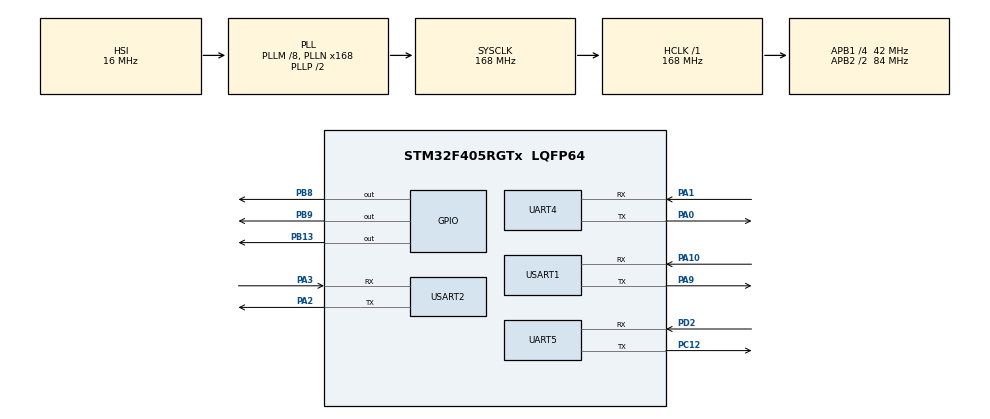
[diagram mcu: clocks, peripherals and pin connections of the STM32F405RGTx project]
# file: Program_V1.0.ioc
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Dma.Request0=USART2_TX
Dma.Request1=UART5_TX
Dma.Request2=USART1_RX
Dma.Request3=UART4_RX
Dma.Request4=UART5_RX
Dma.Request5=USART2_RX
Dma.UART4_RX.3.Direction=DMA_PERIPH_TO_MEMORY
Dma.UART4_RX.3.FIFOMode=DMA_FIFOMODE_DISABLE
Dma.UART4_RX.3.Instance=DMA1_Stream2
Dma.UART4_RX.3.MemDataAlignment=DMA_MDATAALIGN_BYTE
Dma.UART4_RX.3.MemInc=DMA_MINC_ENABLE
Dma.UART4_RX.3.Mode=DMA_NORMAL
Dma.UART4_RX.3.PeriphDataAlignment=DMA_PDATAALIGN_BYTE
Dma.UART4_RX.3.PeriphInc=DMA_PINC_DISABLE
Dma.UART4_RX.3.Priority=DMA_PRIORITY_LOW
Dma.UART5_RX.4.Direction=DMA_PERIPH_TO_MEMORY
Dma.UART5_RX.4.FIFOMode=DMA_FIFOMODE_DISABLE
Dma.UART5_RX.4.Instance=DMA1_Stream0
Dma.UART5_RX.4.MemDataAlignment=DMA_MDATAALIGN_BYTE
Dma.UART5_RX.4.MemInc=DMA_MINC_ENABLE
Dma.UART5_RX.4.Mode=DMA_NORMAL
Dma.UART5_RX.4.PeriphDataAlignment=DMA_PDATAALIGN_BYTE
Dma.UART5_RX.4.PeriphInc=DMA_PINC_DISABLE
Dma.UART5_RX.4.Priority=DMA_PRIORITY_LOW
Dma.UART5_TX.1.Direction=DMA_MEMORY_TO_PERIPH
Dma.UART5_TX.1.FIFOMode=DMA_FIFOMODE_DISABLE
Dma.UART5_TX.1.Instance=DMA1_Stream7
Dma.UART5_TX.1.MemDataAlignment=DMA_MDATAALIGN_BYTE
Dma.UART5_TX.1.MemInc=DMA_MINC_ENABLE
Dma.UART5_TX.1.Mode=DMA_NORMAL
Dma.UART5_TX.1.PeriphDataAlignment=DMA_PDATAALIGN_BYTE
Dma.UART5_TX.1.PeriphInc=DMA_PINC_DISABLE
Dma.UART5_TX.1.Priority=DMA_PRIORITY_LOW
Dma.USART1_RX.2.Direction=DMA_PERIPH_TO_MEMORY
Dma.USART1_RX.2.FIFOMode=DMA_FIFOMODE_DISABLE
Dma.USART1_RX.2.Instance=DMA2_Stream2
Dma.USART1_RX.2.MemDataAlignment=DMA_MDATAALIGN_BYTE
Dma.USART1_RX.2.MemInc=DMA_MINC_ENABLE
Dma.USART1_RX.2.Mode=DMA_NORMAL
Dma.USART1_RX.2.PeriphDataAlignment=DMA_PDATAALIGN_BYTE
Dma.USART1_RX.2.PeriphInc=DMA_PINC_DISABLE
Dma.USART1_RX.2.Priority=DMA_PRIORITY_LOW
Dma.USART2_RX.5.Direction=DMA_PERIPH_TO_MEMORY
Dma.USART2_RX.5.FIFOMode=DMA_FIFOMODE_DISABLE
Dma.USART2_RX.5.Instance=DMA1_Stream5
Dma.USART2_RX.5.MemDataAlignment=DMA_MDATAALIGN_BYTE
Dma.USART2_RX.5.MemInc=DMA_MINC_ENABLE
Dma.USART2_RX.5.Mode=DMA_NORMAL
Dma.USART2_RX.5.PeriphDataAlignment=DMA_PDATAALIGN_BYTE
Dma.USART2_RX.5.PeriphInc=DMA_PINC_DISABLE
Dma.USART2_RX.5.Priority=DMA_PRIORITY_LOW
Dma.USART2_TX.0.Direction=DMA_MEMORY_TO_PERIPH
Dma.USART2_TX.0.FIFOMode=DMA_FIFOMODE_DISABLE
Dma.USART2_TX.0.Instance=DMA1_Stream6
Dma.USART2_TX.0.MemDataAlignment=DMA_MDATAALIGN_BYTE
Dma.USART2_TX.0.MemInc=DMA_MINC_ENABLE
Dma.USART2_TX.0.Mode=DMA_NORMAL
Dma.USART2_TX.0.PeriphDataAlignment=DMA_PDATAALIGN_BYTE
Dma.USART2_TX.0.PeriphInc=DMA_PINC_DISABLE
Dma.USART2_TX.0.Priority=DMA_PRIORITY_LOW
Mcu.Family=STM32F4
Mcu.Name=STM32F405RGTx
Mcu.Package=LQFP64
NVIC.DMA1_Stream0_IRQn=true\:0\:0\:false\:false\:true\:false\:true\:true
NVIC.DMA1_Stream2_IRQn=true\:0\:0\:false\:false\:true\:false\:true\:true
NVIC.DMA1_Stream5_IRQn=true\:0\:0\:false\:false\:true\:false\:true\:true
NVIC.DMA1_Stream6_IRQn=true\:0\:0\:false\:false\:true\:false\:true\:true
NVIC.DMA1_Stream7_IRQn=true\:0\:0\:false\:false\:true\:false\:true\:true
NVIC.DMA2_Stream2_IRQn=true\:0\:0\:false\:false\:true\:false\:true\:true
NVIC.PriorityGroup=NVIC_PRIORITYGROUP_4
NVIC.TIM3_IRQn=true\:15\:0\:true\:false\:true\:true\:true\:true
NVIC.UART4_IRQn=true\:1\:0\:true\:false\:true\:true\:true\:true
NVIC.UART5_IRQn=true\:2\:0\:true\:false\:true\:true\:true\:true
NVIC.USART1_IRQn=true\:0\:0\:false\:false\:true\:true\:true\:true
NVIC.USART2_IRQn=true\:1\:0\:true\:false\:true\:true\:true\:true
PA0-WKUP.Mode=Asynchronous
PA0-WKUP.Signal=UART4_TX
PA1.Mode=Asynchronous
PA1.Signal=UART4_RX
PA10.Mode=Asynchronous
PA10.Signal=USART1_RX
PA13.Mode=Serial_Wire
PA13.Signal=SYS_JTMS-SWDIO
PA14.Mode=Serial_Wire
PA14.Signal=SYS_JTCK-SWCLK
PA2.Mode=Asynchronous
PA2.Signal=USART2_TX
PA3.Mode=Asynchronous
PA3.Signal=USART2_RX
PA9.Mode=Asynchronous
PA9.Signal=USART1_TX
PB13.Signal=GPIO_Output
PB8.PinState=GPIO_PIN_SET
PB8.Signal=GPIO_Output
PB9.PinState=GPIO_PIN_SET
PB9.Signal=GPIO_Output
PC12.Mode=Asynchronous
PC12.Signal=UART5_TX
PD2.Mode=Asynchronous
PD2.Signal=UART5_RX
PH0-OSC_IN.Mode=HSE-External-Oscillator
PH0-OSC_IN.Signal=RCC_OSC_IN
PH1-OSC_OUT.Mode=HSE-External-Oscillator
PH1-OSC_OUT.Signal=RCC_OSC_OUT
ProjectManager.HeapSize=0x200
ProjectManager.StackSize=0x400
ProjectManager.TargetToolchain=MDK-ARM V5.32
RCC.48MHZClocksFreq_Value=84000000
RCC.AHBFreq_Value=168000000
RCC.APB1CLKDivider=RCC_HCLK_DIV4
RCC.APB1Freq_Value=42000000
RCC.APB1TimFreq_Value=84000000
RCC.APB2CLKDivider=RCC_HCLK_DIV2
RCC.APB2Freq_Value=84000000
RCC.APB2TimFreq_Value=168000000
RCC.CortexFreq_Value=168000000
RCC.HCLKFreq_Value=168000000
RCC.HSE_VALUE=25000000
RCC.HSI_VALUE=16000000
RCC.LSE_VALUE=32768
RCC.PLLM=8
RCC.PLLN=168
RCC.SYSCLKFreq_VALUE=168000000
RCC.SYSCLKSource=RCC_SYSCLKSOURCE_PLLCLK
RCC.VCOOutputFreq_Value=336000000
TIM3.AutoReloadPreload=TIM_AUTORELOAD_PRELOAD_ENABLE
TIM3.Period=1000-1
TIM3.Prescaler=1680-1
UART4.VirtualMode=Asynchronous
UART5.VirtualMode=Asynchronous
USART1.VirtualMode=VM_ASYNC
USART2.VirtualMode=VM_ASYNC
VP_TIM3_VS_ClockSourceINT.Mode=Internal
board=custom

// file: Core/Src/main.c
/* USER CODE BEGIN Header */
/**
  ******************************************************************************
  * @file           : main.c
  * @brief          : Main program body
  ******************************************************************************
  * @attention
  *
  * Copyright (c) 2026 STMicroelectronics.
  * All rights reserved.
  *
  * This software is licensed under terms that can be found in the LICENSE file
  * in the root directory of this software component.
  * If no LICENSE file comes with this software, it is provided AS-IS.
  *
  ******************************************************************************
  */
/* USER CODE END Header */
#include "main.h"
#include "dma.h"
#include "tim.h"
#include "usart.h"
#include "gpio.h"

/* USER CODE BEGIN Includes */
#include <string.h>
#include "myuart.h"
#include "HWT101.h"
#include <stdio.h>
#include "qr.h"
#include "uart_screen.h"
#include "Uart_Motor.h"
#include "PID.h"
/* USER CODE END Includes */

void SystemClock_Config(void);
/* USER CODE BEGIN PFP */
uint16_t Tim3_Tick = 0;
extern uint8_t QR_Val[4][3];
/* USER CODE END PFP */

int main(void)
{

  /* MCU Configuration--------------------------------------------------------*/

  /* Reset of all peripherals, Initializes the Flash interface and the Systick. */
  HAL_Init();

  /* Configure the system clock */
  SystemClock_Config();

  /* Initialize all configured peripherals */
  MX_GPIO_Init();
  MX_DMA_Init();
  MX_UART5_Init();
  MX_USART2_UART_Init();
  MX_USART1_UART_Init();
  MX_UART4_Init();
  MX_TIM3_Init();
  /* USER CODE BEGIN 2 */

  HWT101_Init();
  QR_Init();
  Uart_Screen_Init();
   uint8_t a=0;
   HAL_TIM_Base_Start_IT(&htim3);
   HAL_Delay(100);

  /* USER CODE END 2 */

  /* Infinite loop */
  /* USER CODE BEGIN WHILE */
  while (1)
  {

       uint8_t Test1[] = {0x00,0xAA,0x00,0x1C,
                        0x01,0xF6,0x01,0x05,0xDC,0x0A,0x00,0x6B,
                        0x02,0xF6,0x00,0x03,0xE8,0x0A,0x00,0x6B,
                        0x03,0xF6,0x01,0x03,0x20,0x05,0x00,0x6B,
                        0x04,0xF6,0x01,0x03,0x20,0x05,0x00,0x6B,0x6B};
      HAL_UART_Transmit(&huart2, Test1, 32, 100);
      HAL_Delay(1000);

//	  QR_Process();

//        if (Tim3_Tick >= 20)
//        {
//            Tim3_Tick = 0;

//           a = QR_Val[1][1];

//            HAL_UART_Transmit(&huart5, &a, 1, 50);
//		}

    /* USER CODE END WHILE */

  }
}

void SystemClock_Config(void)
{
  RCC_OscInitTypeDef RCC_OscInitStruct = {0};
  RCC_ClkInitTypeDef RCC_ClkInitStruct = {0};

  /** Configure the main internal regulator output voltage
  */
  __HAL_RCC_PWR_CLK_ENABLE();
  __HAL_PWR_VOLTAGESCALING_CONFIG(PWR_REGULATOR_VOLTAGE_SCALE1);

  /** Initializes the RCC Oscillators according to the specified parameters
  * in the RCC_OscInitTypeDef structure.
  */
  RCC_OscInitStruct.OscillatorType = RCC_OSCILLATORTYPE_HSI;
  RCC_OscInitStruct.HSIState = RCC_HSI_ON;
  RCC_OscInitStruct.HSICalibrationValue = RCC_HSICALIBRATION_DEFAULT;
  RCC_OscInitStruct.PLL.PLLState = RCC_PLL_ON;
  RCC_OscInitStruct.PLL.PLLSource = RCC_PLLSOURCE_HSI;
  RCC_OscInitStruct.PLL.PLLM = 8;
  RCC_OscInitStruct.PLL.PLLN = 168;
  RCC_OscInitStruct.PLL.PLLP = RCC_PLLP_DIV2;
  RCC_OscInitStruct.PLL.PLLQ = 4;
  if (HAL_RCC_OscConfig(&RCC_OscInitStruct) != HAL_OK)
  {
    Error_Handler();
  }

  /** Initializes the CPU, AHB and APB buses clocks
  */
  RCC_ClkInitStruct.ClockType = RCC_CLOCKTYPE_HCLK|RCC_CLOCKTYPE_SYSCLK
                              |RCC_CLOCKTYPE_PCLK1|RCC_CLOCKTYPE_PCLK2;
  RCC_ClkInitStruct.SYSCLKSource = RCC_SYSCLKSOURCE_PLLCLK;
  RCC_ClkInitStruct.AHBCLKDivider = RCC_SYSCLK_DIV1;
  RCC_ClkInitStruct.APB1CLKDivider = RCC_HCLK_DIV4;
  RCC_ClkInitStruct.APB2CLKDivider = RCC_HCLK_DIV2;

  if (HAL_RCC_ClockConfig(&RCC_ClkInitStruct, FLASH_LATENCY_5) != HAL_OK)
  {
    Error_Handler();
  }
}

/* USER CODE BEGIN 4 */
#ifdef __GNUC__
int __io_putchar(int ch)
#else
int fputc(int ch, FILE *f)
#endif
{
    HAL_UART_Transmit(&huart5, (uint8_t *)&ch, 1, 100);
    return ch;
}

void HAL_UART_RxCpltCallback(UART_HandleTypeDef *huart)
{
    if (huart->Instance == UART4)
    {
        QR_RxCallback();
    }
    else if (huart->Instance == UART5)
    {
        Uart_Screen_RxCallback();
    }
}

void HAL_TIM_PeriodElapsedCallback(TIM_HandleTypeDef *htim)
{
	if(htim->Instance == TIM3)
	{
		Tim3_Tick++;
		HAL_GPIO_TogglePin(GPIOB,GPIO_PIN_8);

	}
}

/* USER CODE END 4 */

void Error_Handler(void)
{
  __disable_irq();
  while (1)
  {
  }
}
